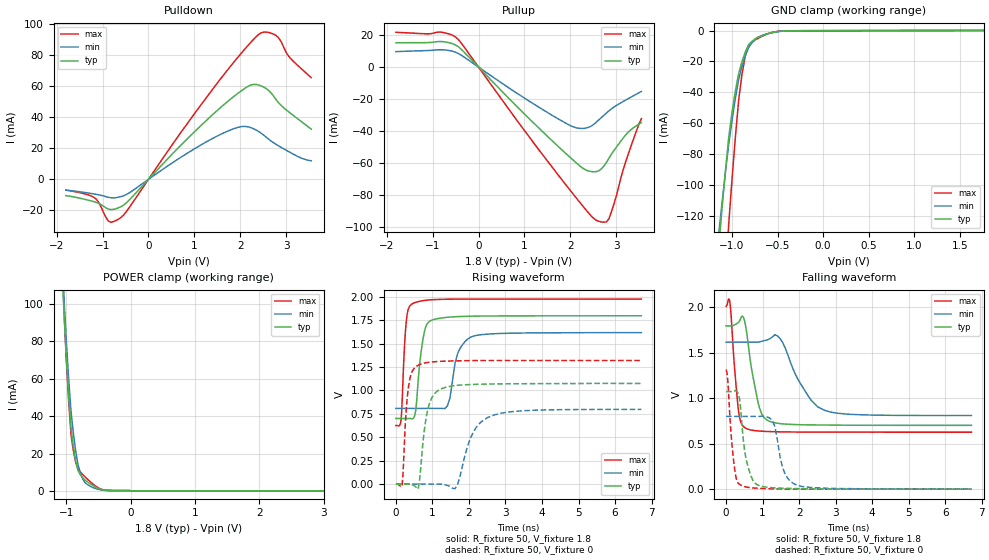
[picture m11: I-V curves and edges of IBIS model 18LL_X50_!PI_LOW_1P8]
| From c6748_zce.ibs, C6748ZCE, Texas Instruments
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|   Model Cell 18LL_X50_!PI_LOW_1P8
|BC1833DV40CTPBFZ_!PI_LOW_1P8
[Model]   18LL_X50_!PI_LOW_1P8
Model_type   I/O
Polarity   Non-Inverting
Enable   Active-Low
Vinl =  0.63
Vinh =  1.17
Cref =  15pF
Rref =  100.00M
Vref =  0V
Vmeas =  0.9
C_comp   2.232809p   2.073051p   2.295852p
[Model Spec]
Vinl   0.63   0.567   0.693
Vinh   1.17   1.053   1.287
[Temperature Range]   25   125   -40
[Voltage Range]   1.8   1.62   1.98
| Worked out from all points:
|   slope of the pulldown table from 0 to 0.27 V, typ, clamps not added: 31.4 ohm
|   slope of the pullup table from 0 to 0.27 V, typ, clamps not added: 33.4 ohm
|   GND clamp passes 1 mA (typ) near -0.54 V on its own axis
|   POWER clamp passes 1 mA (typ) near -0.48 V on its own axis
|   rising waveform, R_fixture 50, V_fixture 1.8: 20-80 % time 180ps typ, 267ps min, 104ps max; typ from 0.7 V to 1.8 V
|   rising waveform, R_fixture 50, V_fixture 0: 20-80 % time 232ps typ, 465ps min, 139ps max; typ from 0 V to 1.07 V
|   falling waveform, R_fixture 50, V_fixture 1.8: 20-80 % time 285ps typ, 637ps min, 162ps max; typ from 1.8 V to 0.702 V
|   falling waveform, R_fixture 50, V_fixture 0: 20-80 % time 220ps typ, 263ps min, 153ps max; typ from 1.07 V to 0 V
[POWER_clamp]
|   voltage   I(typ)   I(min)   I(max)
-1.8V     842.4mA    869.3mA    912.9mA
-1.073V   123.7mA    130.9mA    129.1mA
-1.036V   94.83mA    102.9mA    96.56mA
-1V       70.85mA    79.7mA     69.66mA
-963.6mV  50.44mA    59.51mA    47.46mA
-927.3mV  33.63mA    42.34mA    29.99mA
-890.9mV  23.71mA    30.8mA     21.26mA
-818.2mV  10.87mA    13.88mA    11.68mA
-781.8mV  8.623mA    9.578mA    10.15mA
-636.4mV  3.988mA    2.612mA    5.172mA
-345.5mV  234.4uA    145uA      345.5uA
3.6V      0A         0A         0A
[Pulldown]
|   voltage   I(typ)   I(min)   I(max)
-1.8V     -10.49mA   -6.992mA   -6.878mA
-1.145V   -14.77mA   -9.642mA   -12.54mA
-872.7mV  -19.17mA   -11.58mA   -26.88mA
-600mV    -17.64mA   -11.15mA   -24.61mA
1.636V    48.04mA    29.95mA    67.37mA
2.073V    58.21mA    34.18mA    83.2mA
2.291V    61.28mA    32.65mA    90.41mA
2.455V    60.33mA    29.78mA    94.55mA
2.618V    57.37mA    25.94mA    94.82mA
2.782V    51.43mA    22.55mA    92.84mA
3.055V    43.59mA    17.92mA    79.47mA
3.545V    32.43mA    11.97mA    65.61mA
[Pullup]
|   voltage   I(typ)   I(min)   I(max)
-1.8V     15.27mA    9.71mA     21.85mA
-818.2mV  16.05mA    10.88mA    21.94mA
-490.9mV  13.72mA    9.222mA    18.66mA
1.036V    -30.46mA   -20.11mA   -41.15mA
2.018V    -57.22mA   -36.91mA   -78.08mA
2.345V    -64.63mA   -38.19mA   -89.73mA
2.618V    -65.01mA   -33.11mA   -96.69mA
2.782V    -59.96mA   -28.87mA   -97.07mA
2.836V    -57.31mA   -27.51mA   -95.25mA
3V        -50.25mA   -24.09mA   -80.86mA
3.218V    -42.03mA   -20.43mA   -58.16mA
3.545V    -34.78mA   -15.26mA   -32.29mA
[GND_clamp]
|   voltage   I(typ)   I(min)   I(max)
-1.8V     -697.8mA   -553.2mA   -1.259A
-1.145V   -140.7mA   -131.7mA   -248.3mA
-1.109V   -115.1mA   -111.6mA   -203.3mA
-1.036V   -69.61mA   -74.07mA   -125.9mA
-963.6mV  -39.29mA   -44.18mA   -69.68mA
-927.3mV  -27.97mA   -31.86mA   -45.36mA
-890.9mV  -20.15mA   -23.34mA   -28.44mA
-854.5mV  -13.89mA   -16.39mA   -16.54mA
-818.2mV  -9.198mA   -11.01mA   -9.648mA
-709.1mV  -4.172mA   -4.037mA   -4.792mA
-418.2mV  -167.1uA   -231.6uA   -161.9uA
1.764V    148.6uA    81.79uA    236.4uA
[Ramp]
| variable   typ   min   max
dV/dt_f  0.7217987/0.2986319n   0.53461/0.6646511n  0.8809398/0.1679611n
dV/dt_r  0.6786641/0.2305213n  0.5125735/0.4703193n  0.8110502/0.1380863n
R_load = 50
[Rising Waveform]
R_fixture = 50
V_fixture = 1.8
V_fixture_min = 1.62
V_fixture_max = 1.98
|   time   V(typ)   V(min)   V(max)
0s        700.4mV    808.1mV    624.7mV
140ps     700.4mV    808.1mV    682.9mV
280ps     700mV      808.1mV    1.723V
450ps     695.7mV    808.1mV    1.925V
770ps     1.61V      808.1mV    1.96V
980ps     1.75V      808mV      1.968V
1.41ns    1.781V     835.4mV    1.974V
1.69ns    1.788V     1.396V     1.975V
2.12ns    1.793V     1.58V      1.975V
6.72ns    1.797V     1.617V     1.976V
[Rising Waveform]
R_fixture = 50
V_fixture = 0
V_fixture_min = 0
V_fixture_max = 0
|   time   V(typ)   V(min)   V(max)
0s        -1.103uV   -197.3nV   -628.1uV
170ps     -2.458uV   3.374uV    -8.72mV
340ps     -493.6uV   428.8nV    1.027V
620ps     -30.77mV   434.4nV    1.271V
880ps     806.8mV    12.95uV    1.299V
1.26ns    1.02V      295.8uV    1.311V
1.62ns    1.052V     -49.11mV   1.315V
2.12ns    1.064V     555mV      1.319V
2.7ns     1.069V     739.4mV    1.319V
6.72ns    1.075V     797.5mV    1.319V
[Falling Waveform]
R_fixture = 50
V_fixture = 1.8
V_fixture_min = 1.62
V_fixture_max = 1.98
|   time   V(typ)   V(min)   V(max)
0s        1.797V     1.618V     2.012V
100ps     1.797V     1.618V     2.07V
340ps     1.837V     1.618V     866.3mV
540ps     1.789V     1.618V     670.9mV
910ps     901mV      1.62V      640.1mV
1.19ns    747mV      1.654V     634mV
1.48ns    721.8mV    1.658V     631.1mV
2.05ns    709.3mV    1.154V     628.7mV
2.7ns     705.9mV    867mV      627.9mV
6.72ns    702.4mV    810.6mV    627.3mV
[Falling Waveform]
R_fixture = 50
V_fixture = 0
V_fixture_min = 0
V_fixture_max = 0
|   time   V(typ)   V(min)   V(max)
0s        1.075V     800.7mV    1.315V
50ps      1.075V     800.7mV    1.183V
230ps     1.083V     800.7mV    239.3mV
400ps     885.8mV    800.7mV    44.92mV
570ps     294.3mV    800.7mV    22.46mV
910ps     38.56mV    800.8mV    9.815mV
1.26ns    16.05mV    760.1mV    3.968mV
1.62ns    9.431mV    163.8mV    1.465mV
1.97ns    5.88mV     40.07mV    551.7uV
6.72ns    58.95uV    1.373mV    5.977uV
